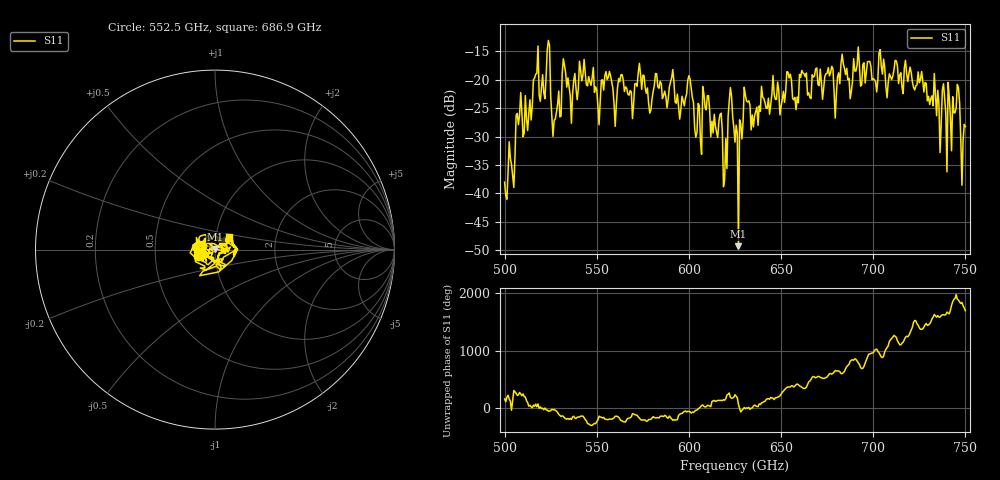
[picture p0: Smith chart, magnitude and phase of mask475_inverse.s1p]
!Created with skrf (http://scikit-rf.org).
# GHz S MA R 50.0
!freq magS11 angS11
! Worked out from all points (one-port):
!   401 points, 500 GHz to 750 GHz, reference 50 ohm
!   lowest |S11| = -49.3 dB at 626.9 GHz (marker M1), VSWR 1.01, Z = 50.2 + j0.307 ohm
!   |S11| at or under -10 dB: start of sweep to end of sweep
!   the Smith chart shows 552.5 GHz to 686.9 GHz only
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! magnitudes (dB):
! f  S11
! 500 GHz  -38.0
! 504.4 GHz  -37.0
! 507.5 GHz  -27.9
! 513.8 GHz  -23.5
! 516.9 GHz  -19.0
! 520.6 GHz  -19.1
! 523.8 GHz  -13.1
! 526.9 GHz  -27.1
! 531.2 GHz  -18.8
! 560 GHz  -28.2
! 562.5 GHz  -20.3
! 579.4 GHz  -25.3
! 590.6 GHz  -19.6
! 593.8 GHz  -22.5
! 600.6 GHz  -19.9
! 605.6 GHz  -24.5
! 608.8 GHz  -24.8
! 616.9 GHz  -26.1
! 619.4 GHz  -37.6
! 622.5 GHz  -21.4
! 625 GHz  -31.0
! 626.9 GHz  -49.3
! 631.2 GHz  -23.7
! 635 GHz  -28.3
! 656.2 GHz  -23.3
! 687.5 GHz  -23.3
! 718.8 GHz  -20.3
! 750 GHz  -28.3
